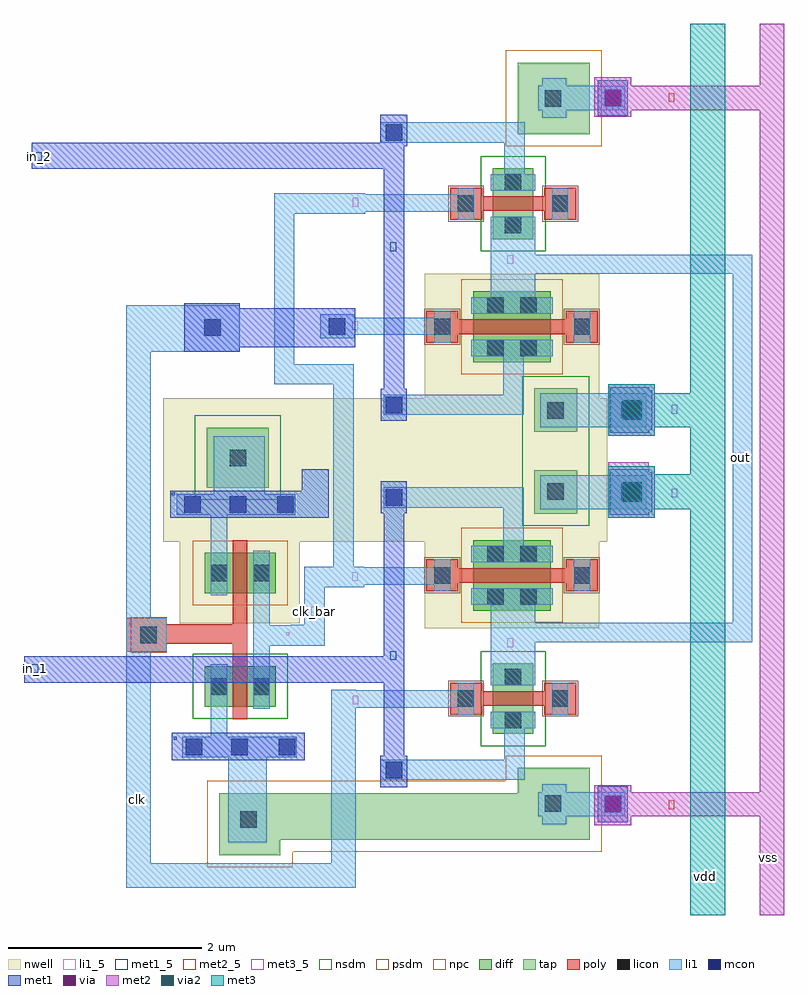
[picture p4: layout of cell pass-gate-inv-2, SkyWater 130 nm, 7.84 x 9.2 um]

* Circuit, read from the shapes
.subckt pass-gate-inv-2 clk clk_bar in_1 in_2 out vdd vss
XM1 clk_bar clk vss vss sky130_fd_pr__nfet_01v8 w=0.42 l=0.15
XM2 out clk in_1 vss sky130_fd_pr__nfet_01v8 w=0.42 l=0.15
XM3 in_2 clk_bar out vss sky130_fd_pr__nfet_01v8 w=0.42 l=0.15
XM4 clk_bar clk vdd vdd sky130_fd_pr__pfet_01v8 w=0.42 l=0.15
XM5 in_1 clk_bar out vdd sky130_fd_pr__pfet_01v8 w=0.8 l=0.15
XM6 out clk in_2 vdd sky130_fd_pr__pfet_01v8 w=0.8 l=0.15
.ends

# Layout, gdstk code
from math import pi, radians
import gdstk
lib = gdstk.Library(unit=1e-6, precision=1e-09)
def R(c, l, rs):  # rectangles x0, y0, x1, y1
    for r in rs: c.add(gdstk.rectangle(r[:2], r[2:], *l))
nwell = (64, 20)
diff = (65, 20)
tap = (65, 44)
poly = (66, 20)
licon = (66, 44)
li1_5 = (67, 5)
li1 = (67, 20)
mcon = (67, 44)
met1_5 = (68, 5)
met1 = (68, 20)
via = (68, 44)
met2_5 = (69, 5)
met2 = (69, 20)
via2 = (69, 44)
met3_5 = (70, 5)
met3 = (70, 20)
nsdm = (93, 44)
psdm = (94, 20)
npc = (95, 20)

sky130_fd_pr__pfet_01v8_ = lib.new_cell('sky130_fd_pr__pfet_01v8_ykwexw')
R(sky130_fd_pr__pfet_01v8_, nwell, [(-0.545,-0.52,0.545,0.52)])
R(sky130_fd_pr__pfet_01v8_, diff, [(-0.365,-0.21,0.365,0.21)])
R(sky130_fd_pr__pfet_01v8_, poly, [(-0.075,-0.34,0.075,0.34)])
R(sky130_fd_pr__pfet_01v8_, licon, [(-0.305,-0.085,-0.135,0.085), (0.135,-0.085,0.305,0.085)])
R(sky130_fd_pr__pfet_01v8_, li1, [(-0.305,-0.23,-0.135,0.23), (0.135,-0.23,0.305,0.23)])
R(sky130_fd_pr__pfet_01v8_, psdm, [(-0.49,-0.335,0.49,0.335)])

sky130_fd_pr__nfet_01v8_ = lib.new_cell('sky130_fd_pr__nfet_01v8_8mr83b')
R(sky130_fd_pr__nfet_01v8_, diff, [(-0.365,-0.21,0.365,0.21)])
R(sky130_fd_pr__nfet_01v8_, poly, [(-0.075,-0.34,0.075,0.34)])
R(sky130_fd_pr__nfet_01v8_, licon, [(-0.305,-0.085,-0.135,0.085), (0.135,-0.085,0.305,0.085)])
R(sky130_fd_pr__nfet_01v8_, li1, [(-0.305,-0.23,-0.135,0.23), (0.135,-0.23,0.305,0.23)])
R(sky130_fd_pr__nfet_01v8_, nsdm, [(-0.49,-0.335,0.49,0.335)])

inverter = lib.new_cell('inverter')
R(inverter, nwell, [(-0.08,0,1.16,2.24)])
R(inverter, tap, [(0.33,-2.39,0.96,-1.75), (0.2,1.4,0.84,2.02)])
R(inverter, poly, [(0.47,-0.33,0.62,-0.21), (-0.63,-0.29,-0.21,-0.21), (-0.63,-0.21,0.62,-0.01), (-0.63,-0.01,-0.21,0.06), (0.47,-0.01,0.62,0.375)])
R(inverter, licon, [(0.545,-2.11,0.715,-1.94), (-0.485,-0.205,-0.315,-0.035), (0.44,1.62,0.61,1.79)])
R(inverter, li1_5, [(1.02,-0.12,1.05,-0.09), (-0.6,-0.02,-0.57,0.01)])
R(inverter, li1, [(0.42,-2.26,0.82,-1.38), (-0.05,-1.38,1.13,-1.17), (0.24,-1.17,0.41,-0.86), (0.68,-0.46,0.85,-0.23), (-0.63,-0.29,-0.21,0.06), (0.68,-0.23,1.14,-0.02), (0.68,-0.02,0.85,0.32), (0.24,0.67,0.41,1.12), (-0.11,1.12,1.115,1.33), (0.27,1.33,0.8,1.93)])
R(inverter, mcon, [(-0.015,-1.36,0.155,-1.19), (0.455,-1.36,0.625,-1.19), (0.945,-1.36,1.115,-1.19), (-0.03,1.14,0.14,1.31), (0.44,1.14,0.61,1.31), (0.93,1.14,1.1,1.31)])
R(inverter, met1_5, [(-0.14,-1.2,-0.11,-1.17), (-0.16,1.32,-0.13,1.35)])
R(inverter, met1, [(-0.16,-1.41,1.21,-1.13), (-0.175,1.09,1.195,1.37)])
R(inverter, nsdm, [(0.075,1.275,0.965,2.145)])
R(inverter, psdm, [(0.205,-2.515,1.085,-1.625)])
R(inverter, npc, [(-0.585,-0.305,-0.215,0.065)])
inverter.add(gdstk.Reference(sky130_fd_pr__pfet_01v8_, (0.545,0.52)))
inverter.add(gdstk.Reference(sky130_fd_pr__nfet_01v8_, (0.545,-0.65)))
inverter.add(gdstk.Label('in', (-0.585,-0.005), layer=67, texttype=5))
inverter.add(gdstk.Label('out', (1.035,-0.105), layer=67, texttype=5))
inverter.add(gdstk.Label('vdd', (-0.145,1.335), layer=68, texttype=5))
inverter.add(gdstk.Label('vss', (-0.125,-1.185), layer=68, texttype=5))

c_sky130_fd_pr__pfet_01v8_ = lib.new_cell('sky130_fd_pr__pfet_01v8_pa2hmj')
R(c_sky130_fd_pr__pfet_01v8_, nwell, [(-0.545,-0.9,0.545,0.9)])
R(c_sky130_fd_pr__pfet_01v8_, diff, [(-0.365,-0.4,0.365,0.4)])
R(c_sky130_fd_pr__pfet_01v8_, poly, [(-0.165,-0.885,0.165,-0.555), (-0.075,-0.555,0.075,0.555), (-0.165,0.555,0.165,0.885)])
R(c_sky130_fd_pr__pfet_01v8_, licon, [(-0.085,-0.805,0.085,-0.635), (-0.305,-0.255,-0.135,-0.085), (0.135,-0.255,0.305,-0.085), (-0.305,0.085,-0.135,0.255), (0.135,0.085,0.305,0.255), (-0.085,0.635,0.085,0.805)])
R(c_sky130_fd_pr__pfet_01v8_, li1, [(-0.165,-0.805,0.165,-0.635), (-0.305,-0.42,-0.135,0.42), (0.135,-0.42,0.305,0.42), (-0.165,0.635,0.165,0.805)])
R(c_sky130_fd_pr__pfet_01v8_, psdm, [(-0.49,-0.525,0.49,0.525)])
R(c_sky130_fd_pr__pfet_01v8_, npc, [(-0.185,-0.905,0.185,-0.535), (-0.185,0.535,0.185,0.905)])

c_sky130_fd_pr__nfet_01v8_ = lib.new_cell('sky130_fd_pr__nfet_01v8_5mkfxl')
R(c_sky130_fd_pr__nfet_01v8_, diff, [(-0.365,-0.21,0.365,0.21)])
R(c_sky130_fd_pr__nfet_01v8_, poly, [(-0.165,-0.65,0.165,-0.32), (-0.075,-0.32,0.075,0.32), (-0.165,0.32,0.165,0.65)])
R(c_sky130_fd_pr__nfet_01v8_, licon, [(-0.085,-0.57,0.085,-0.4), (-0.305,-0.085,-0.135,0.085), (0.135,-0.085,0.305,0.085), (-0.085,0.4,0.085,0.57)])
R(c_sky130_fd_pr__nfet_01v8_, li1, [(-0.165,-0.57,0.165,-0.4), (-0.305,-0.23,-0.135,0.23), (0.135,-0.23,0.305,0.23), (-0.165,0.4,0.165,0.57)])
R(c_sky130_fd_pr__nfet_01v8_, nsdm, [(-0.49,-0.335,0.49,0.335)])
R(c_sky130_fd_pr__nfet_01v8_, npc, [(-0.185,-0.67,0.185,-0.3), (-0.185,0.3,0.185,0.67)])

pass_gate = lib.new_cell('pass-gate')
R(pass_gate, nwell, [(-0.26,1.98,1.54,2.93)])
R(pass_gate, tap, [(0.7,-1.09,1.44,-0.35), (0.87,2.27,1.31,2.72)])
R(pass_gate, licon, [(0.975,-0.805,1.145,-0.635), (1.005,2.415,1.175,2.585)])
R(pass_gate, li1_5, [(-1.005,0.305,-0.945,0.395), (0.59,0.895,0.65,0.985), (-1.01,1.58,-0.95,1.67)])
R(pass_gate, li1, [(0.95,-0.93,1.2,-0.85), (0.91,-0.85,1.805,-0.6), (0.95,-0.6,1.2,-0.52), (-0.72,-0.475,0.77,-0.265), (0.56,-0.265,0.77,0.12), (-1.05,0.27,0.1,0.45), (0.42,0.58,0.88,1.4), (-1.05,1.54,-0.02,1.72), (0.55,1.92,0.76,2.335), (0.93,2.32,2.025,2.67), (-0.685,2.335,0.76,2.545)])
R(pass_gate, mcon, [(1.595,-0.81,1.765,-0.64), (-0.665,-0.455,-0.495,-0.285), (-0.665,2.355,-0.495,2.525), (1.765,2.41,1.935,2.58)])
R(pass_gate, met1_5, [(-0.615,0.765,-0.555,0.855)])
R(pass_gate, met1, [(1.525,-0.91,1.835,-0.54), (-0.72,-0.55,-0.44,-0.225), (-0.685,-0.225,-0.475,2.275), (1.645,2.26,2.055,2.29), (-0.715,2.275,-0.445,2.605), (1.645,2.29,2.085,2.7), (1.645,2.7,2.055,2.73)])
R(pass_gate, via, [(1.605,-0.8,1.755,-0.65), (1.805,2.42,1.955,2.57)])
R(pass_gate, met2_5, [(2.255,-0.775,2.315,-0.685)])
R(pass_gate, met2, [(1.49,-0.94,1.87,-0.85), (1.49,-0.85,2.515,-0.6), (1.49,-0.6,1.87,-0.53), (1.63,2.23,2.11,2.76)])
R(pass_gate, via2, [(1.78,2.395,1.98,2.595)])
R(pass_gate, met3_5, [(2.285,2.44,2.345,2.53)])
R(pass_gate, met3, [(1.63,2.23,2.11,2.32), (1.63,2.32,2.515,2.67), (1.63,2.67,2.11,2.76)])
R(pass_gate, nsdm, [(0.745,2.145,1.435,2.845)])
R(pass_gate, psdm, [(0.575,-1.215,1.565,-0.225)])
pass_gate.add(gdstk.Reference(c_sky130_fd_pr__pfet_01v8_, (0.64,1.635), rotation=3*pi/2))
pass_gate.add(gdstk.Reference(c_sky130_fd_pr__nfet_01v8_, (0.65,0.365), rotation=3*pi/2))
pass_gate.add(gdstk.Label('clk', (-0.975,0.35), layer=67, texttype=5))
pass_gate.add(gdstk.Label('clk_bar', (-0.98,1.625), layer=67, texttype=5))
pass_gate.add(gdstk.Label('v_in', (-0.585,0.81), layer=68, texttype=5))
pass_gate.add(gdstk.Label('v_out', (0.62,0.94), layer=67, texttype=5))
pass_gate.add(gdstk.Label('v_newll', (2.315,2.485), layer=70, texttype=5))
pass_gate.add(gdstk.Label('v_sub', (2.285,-0.73), layer=69, texttype=5))

pass_gate_inv_2 = lib.new_cell('pass-gate-inv-2')
R(pass_gate_inv_2, nwell, [(-1.91,3.07,2.67,4.55)])
R(pass_gate_inv_2, tap, [(-0.75,0,1.81,0.48)])
R(pass_gate_inv_2, li1_5, [(-2.2,0.37,-2.14,0.46), (-0.38,2.31,-0.32,2.4), (4.02,3.9,4.08,3.99)])
R(pass_gate_inv_2, li1, [(-2.29,-0.495,0.075,-0.245), (-2.29,-0.245,-2.04,5.03), (-0.175,-0.245,0.075,1.545), (1.47,1.69,1.93,2.035), (-0.73,2,-0.245,2.21), (1.47,2.035,4.165,2.235), (-0.595,2.21,-0.245,2.215), (-0.455,2.215,-0.245,2.605), (1.47,2.235,1.93,2.49), (3.965,2.235,4.165,5.835), (-0.455,2.605,0.165,2.815), (-0.155,2.815,0.055,4.695), (-0.765,4.695,0.055,4.905), (-0.765,4.905,-0.555,6.455), (-2.29,5.03,-1.12,5.51), (-0.29,5.17,0.06,5.42), (1.61,5.835,4.165,6.035), (-0.765,6.455,0.175,6.665)])
R(pass_gate_inv_2, mcon, [(-1.485,5.195,-1.315,5.365), (-0.2,5.21,-0.03,5.38)])
R(pass_gate_inv_2, met1_5, [(-3.26,1.72,-3.2,1.81), (-3.22,7,-3.16,7.09)])
R(pass_gate_inv_2, met1, [(-3.345,1.62,0.5,1.89), (-0.645,3.32,-0.2,3.6), (-0.48,3.6,-0.2,3.82), (-1.69,5.03,-1.12,5.08), (-1.69,5.08,0.07,5.48), (-1.69,5.48,-1.12,5.53), (-3.265,6.92,0.48,7.19)])
R(pass_gate_inv_2, met2_5, [(4.31,-0.23,4.37,-0.14)])
R(pass_gate_inv_2, met2, [(4.245,-0.78,4.495,0.24), (2.895,0.24,4.495,0.49), (4.245,0.49,4.495,7.525), (2.68,3.425,3.015,3.44), (2.68,3.44,3.1,3.89), (2.68,4.17,3.1,4.54), (2.68,4.54,3.015,4.645), (3.065,7.525,4.495,7.775), (4.245,7.775,4.495,8.415)])
R(pass_gate_inv_2, met3_5, [(3.66,-0.43,3.72,-0.34)])
R(pass_gate_inv_2, met3, [(3.53,-0.78,3.89,3.41), (3.12,3.41,3.89,3.77), (3.53,3.77,3.89,4.255), (3.105,4.255,3.89,4.605), (3.53,4.605,3.89,8.415)])
R(pass_gate_inv_2, nsdm, [(1.795,3.935,2.485,4.08)])
R(pass_gate_inv_2, psdm, [(-0.875,-0.125,1.935,0.605)])
pass_gate_inv_2.add(gdstk.Reference(inverter, (-1.66,2.23)))
pass_gate_inv_2.add(gdstk.Reference(pass_gate, (1.05,6.925), x_reflection=True))
pass_gate_inv_2.add(gdstk.Reference(pass_gate, (1.05,1.09)))
pass_gate_inv_2.add(gdstk.Label('in_1', (-3.23,1.765), layer=68, texttype=5))
pass_gate_inv_2.add(gdstk.Label('in_2', (-3.19,7.045), layer=68, texttype=5))
pass_gate_inv_2.add(gdstk.Label('clk', (-2.17,0.415), layer=67, texttype=5))
pass_gate_inv_2.add(gdstk.Label('clk_bar', (-0.35,2.355), layer=67, texttype=5))
pass_gate_inv_2.add(gdstk.Label('out', (4.05,3.945), layer=67, texttype=5))
pass_gate_inv_2.add(gdstk.Label('vdd', (3.69,-0.385), layer=70, texttype=5))
pass_gate_inv_2.add(gdstk.Label('vss', (4.34,-0.185), layer=69, texttype=5))

lib.write_gds('pass-gate-inv-2.gds')
